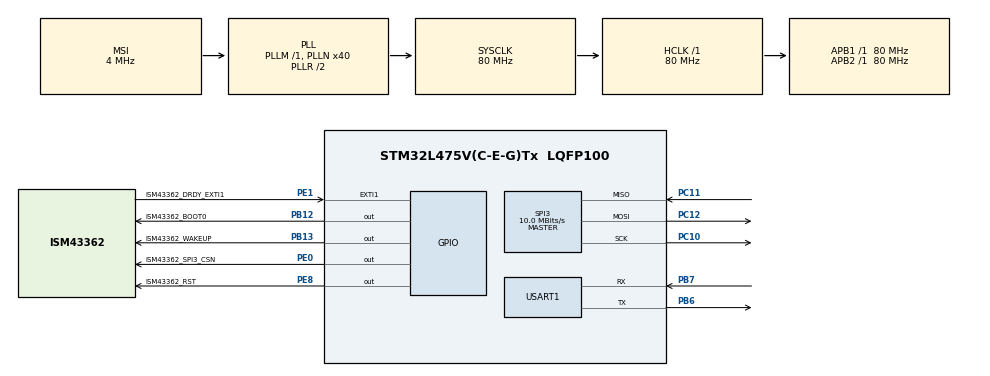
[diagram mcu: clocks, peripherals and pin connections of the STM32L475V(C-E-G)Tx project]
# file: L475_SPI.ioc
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Mcu.Family=STM32L4
Mcu.Name=STM32L475V(C-E-G)Tx
Mcu.Package=LQFP100
NVIC.PriorityGroup=NVIC_PRIORITYGROUP_4
NVIC.SPI3_IRQn=true\:0\:0\:false\:false\:true\:true\:true
NVIC.USART1_IRQn=true\:0\:0\:false\:false\:true\:true\:true
PB12.GPIO_Label=ISM43362_BOOT0
PB12.Signal=GPIO_Output
PB13.GPIO_Label=ISM43362_WAKEUP
PB13.Signal=GPIO_Output
PB6.Mode=Asynchronous
PB6.Signal=USART1_TX
PB7.Mode=Asynchronous
PB7.Signal=USART1_RX
PC10.Mode=Full_Duplex_Master
PC10.Signal=SPI3_SCK
PC11.Mode=Full_Duplex_Master
PC11.Signal=SPI3_MISO
PC12.Mode=Full_Duplex_Master
PC12.Signal=SPI3_MOSI
PE0.GPIO_Label=ISM43362_SPI3_CSN
PE0.Signal=GPIO_Output
PE1.GPIO_Label=ISM43362_DRDY_EXTI1
PE1.Signal=GPXTI1
PE8.GPIO_Label=ISM43362_RST
PE8.Signal=GPIO_Output
ProjectManager.HeapSize=0x200
ProjectManager.StackSize=0x400
ProjectManager.TargetToolchain=STM32CubeIDE
RCC.ADCFreq_Value=48000000
RCC.AHBFreq_Value=80000000
RCC.APB1Freq_Value=80000000
RCC.APB1TimFreq_Value=80000000
RCC.APB2Freq_Value=80000000
RCC.APB2TimFreq_Value=80000000
RCC.CortexFreq_Value=80000000
RCC.HCLKFreq_Value=80000000
RCC.HSE_VALUE=8000000
RCC.HSI_VALUE=16000000
RCC.LSE_VALUE=32768
RCC.MSI_VALUE=4000000
RCC.PLLN=40
RCC.PLLSAI1N=24
RCC.SYSCLKFreq_VALUE=80000000
RCC.SYSCLKSource=RCC_SYSCLKSOURCE_PLLCLK
RCC.USBFreq_Value=48000000
RCC.VCOOutputFreq_Value=160000000
SPI3.BaudRatePrescaler=SPI_BAUDRATEPRESCALER_8
SPI3.CalculateBaudRate=10.0 MBits/s
SPI3.DataSize=SPI_DATASIZE_8BIT
SPI3.Direction=SPI_DIRECTION_2LINES
SPI3.FirstBit=SPI_FIRSTBIT_MSB
SPI3.Mode=SPI_MODE_MASTER
SPI3.NSSPMode=SPI_NSS_PULSE_DISABLE
SPI3.VirtualType=VM_MASTER
USART1.VirtualMode-Asynchronous=VM_ASYNC
board=B-L475E-IOT01A1

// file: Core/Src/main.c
/* USER CODE BEGIN Header */
/**
 ******************************************************************************
 * @file           : main.c
 * @brief          : Main program body
 ******************************************************************************
 * @attention
 *
 * <h2><center>&copy; Copyright (c) 2019 STMicroelectronics.
 * All rights reserved.</center></h2>
 *
 * This software component is licensed by ST under BSD 3-Clause license,
 * the "License"; You may not use this file except in compliance with the
 * License. You may obtain a copy of the License at:
 *                        opensource.org/licenses/BSD-3-Clause
 *
 ******************************************************************************
 */
/* USER CODE END Header */

#include "main.h"

/* USER CODE BEGIN Includes */
#include <stdio.h>
#include <string.h>

// Contains the _write and _read functions (_weak can override)
// Already included by the stdio.h library, (Kept here to view the source code)
//#include <unistd.h>

/* USER CODE END Includes */

SPI_HandleTypeDef hspi3;

UART_HandleTypeDef huart1;

void SystemClock_Config(void);
static void MX_GPIO_Init(void);
static void MX_SPI3_Init(void);
static void MX_USART1_UART_Init(void);
/* USER CODE BEGIN PFP */

static void send_spi_tx(uint8_t *data, int size);
static void send_spi_dummy_tx(uint8_t *tx, int16_t size);

static void ism_activate();
static void ism_deactivate();

static int ism_read_status();

static void ism_read();
static void ism_write();

/* USER CODE END PFP */

/* USER CODE BEGIN 0 */

static uint8_t ACK[2] = { 0x0A, 0x0A };

/* USER CODE END 0 */

int main(void) {

	/* MCU Configuration--------------------------------------------------------*/

	/* Reset of all peripherals, Initializes the Flash interface and the Systick. */
	HAL_Init();

	/* Configure the system clock */
	SystemClock_Config();

	/* Initialize all configured peripherals */
	MX_GPIO_Init();
	MX_SPI3_Init();
	MX_USART1_UART_Init();

	/* Infinite loop */
	/* USER CODE BEGIN WHILE */
	printf("Starting USER Code\r\n");

	HAL_StatusTypeDef status;
//	static uint8_t rData[512];

// TODO, Reset Module
	printf("Resetting Module\r\n");
	HAL_GPIO_WritePin(ISM43362_RST_GPIO_Port, ISM43362_RST_Pin, GPIO_PIN_RESET);
	HAL_Delay(10);

	HAL_GPIO_WritePin(ISM43362_RST_GPIO_Port, ISM43362_RST_Pin, GPIO_PIN_SET);
	HAL_Delay(500);

	// TODO, Set the Module Active
	printf("Setting Module active\r\n");
//	HAL_GPIO_WritePin(ISM43362_SPI3_CSN_GPIO_Port, ISM43362_SPI3_CSN_Pin,
//			GPIO_PIN_RESET);

	/**
	 *
	 * START
	 *
	 */

	int s;
	while((s = ism_read_status()) == 0) {
		printf("%d.\r\n", s);
		HAL_Delay(1000);
	}

	ism_activate();
	ism_read();
	ism_deactivate();

	// TODO, Might need a delay here
	__NOP();
	__NOP();

	ism_activate();
	uint8_t d[] = "I?\r\n";
	send_spi_tx(d, 4);
	ism_deactivate();

//	printf("ism_read_status: %d\r\n", ism_read_status());
//	__NOP();
//	__NOP();

	while((s = ism_read_status()) == 0) {
		printf("%d.\r\n", s);
		HAL_Delay(1000);
	}
	printf("%d\r\n", ism_read_status());

	ism_activate();
	ism_read();
	ism_deactivate();

	return 0;

	// 0x0d 0x0a 0x3e 0x20
	// 0x0a 0x0d 0x20 0x3e
	while (1) {

		ism_activate();
		printf("State: %d\r\n", ism_read_status());

		uint8_t t[2];
		int count = 0;

		while (ism_read_status() != 1) {
			HAL_SPI_Transmit(&hspi3, ACK, 2, 1000);
			printf(".\r\n");
			HAL_Delay(1000);

			count++;
			if (count == 10) {
				for (int i = 0; i < 20; i++) {
					status = HAL_SPI_Receive_IT(&hspi3, t, 2);
					printf("S %d D %x %x\r\n", status, t[1], t[0]);

				}
				count = 0;
			}
		}

		HAL_Delay(1000);
		ism_read();

		ism_deactivate();

//		send_spi_tx("?\r\n\n");

		GPIO_PinState state = HAL_GPIO_ReadPin(ISM43362_DRDY_EXTI1_GPIO_Port,
		ISM43362_DRDY_EXTI1_Pin);
		while (state != 1) {
			HAL_SPI_Transmit(&hspi3, ACK, 2, 1000);
			state = HAL_GPIO_ReadPin(ISM43362_DRDY_EXTI1_GPIO_Port,
			ISM43362_DRDY_EXTI1_Pin);
			printf("%d.\r\n", state);
			HAL_Delay(1000);

			count++;
			if (count == 10) {
				for (int i = 0; i < 20; i++) {
					status = HAL_SPI_Receive_IT(&hspi3, t, 2);
					printf("S %d D %x %x\r\n", status, t[1], t[0]);

				}
				count = 0;
			}
		}
//		uint8_t data[] = { 0x3F, 0x49, 0x0A, 0x0D, 0x0A, 0x0A };
//		send_spi_dummy_tx(data, 6);
	}

//
//	memset(rData, 0, 512 * sizeof(uint8_t));

	while (1) {
		/* USER CODE END WHILE */

		/* USER CODE BEGIN 3 */
		printf("Hello World\r\n");
		HAL_Delay(1000);
	}
	/* USER CODE END 3 */
}

static void send_spi_dummy_tx(uint8_t *tx, int16_t size) {
	(void) HAL_SPI_Transmit(&hspi3, tx, size, 1000);
	for (int i = 0; i < size; i = i + 2) {
		printf("Sent: %x %x\r\n", tx[i + 1], tx[i]);
	}
//	printf("S: %d, Sent: %s\r\n", status, tx);
	printf("DONE\r\n");
}

void SystemClock_Config(void) {
	RCC_OscInitTypeDef RCC_OscInitStruct = { 0 };
	RCC_ClkInitTypeDef RCC_ClkInitStruct = { 0 };
	RCC_PeriphCLKInitTypeDef PeriphClkInit = { 0 };

	/** Initializes the CPU, AHB and APB busses clocks
	 */
	RCC_OscInitStruct.OscillatorType = RCC_OSCILLATORTYPE_MSI;
	RCC_OscInitStruct.MSIState = RCC_MSI_ON;
	RCC_OscInitStruct.MSICalibrationValue = 0;
	RCC_OscInitStruct.MSIClockRange = RCC_MSIRANGE_6;
	RCC_OscInitStruct.PLL.PLLState = RCC_PLL_ON;
	RCC_OscInitStruct.PLL.PLLSource = RCC_PLLSOURCE_MSI;
	RCC_OscInitStruct.PLL.PLLM = 1;
	RCC_OscInitStruct.PLL.PLLN = 40;
	RCC_OscInitStruct.PLL.PLLP = RCC_PLLP_DIV7;
	RCC_OscInitStruct.PLL.PLLQ = RCC_PLLQ_DIV2;
	RCC_OscInitStruct.PLL.PLLR = RCC_PLLR_DIV2;
	if (HAL_RCC_OscConfig(&RCC_OscInitStruct) != HAL_OK) {
		Error_Handler();
	}
	/** Initializes the CPU, AHB and APB busses clocks
	 */
	RCC_ClkInitStruct.ClockType = RCC_CLOCKTYPE_HCLK | RCC_CLOCKTYPE_SYSCLK
			| RCC_CLOCKTYPE_PCLK1 | RCC_CLOCKTYPE_PCLK2;
	RCC_ClkInitStruct.SYSCLKSource = RCC_SYSCLKSOURCE_PLLCLK;
	RCC_ClkInitStruct.AHBCLKDivider = RCC_SYSCLK_DIV1;
	RCC_ClkInitStruct.APB1CLKDivider = RCC_HCLK_DIV1;
	RCC_ClkInitStruct.APB2CLKDivider = RCC_HCLK_DIV1;

	if (HAL_RCC_ClockConfig(&RCC_ClkInitStruct, FLASH_LATENCY_4) != HAL_OK) {
		Error_Handler();
	}
	PeriphClkInit.PeriphClockSelection = RCC_PERIPHCLK_USART1;
	PeriphClkInit.Usart1ClockSelection = RCC_USART1CLKSOURCE_PCLK2;
	if (HAL_RCCEx_PeriphCLKConfig(&PeriphClkInit) != HAL_OK) {
		Error_Handler();
	}
	/** Configure the main internal regulator output voltage
	 */
	if (HAL_PWREx_ControlVoltageScaling(PWR_REGULATOR_VOLTAGE_SCALE1)
			!= HAL_OK) {
		Error_Handler();
	}
}

static void MX_SPI3_Init(void) {

	/* SPI3 parameter configuration*/
	hspi3.Instance = SPI3;
	hspi3.Init.Mode = SPI_MODE_MASTER;
	hspi3.Init.Direction = SPI_DIRECTION_2LINES;
	hspi3.Init.DataSize = SPI_DATASIZE_8BIT;
	hspi3.Init.CLKPolarity = SPI_POLARITY_LOW;
	hspi3.Init.CLKPhase = SPI_PHASE_1EDGE;
	hspi3.Init.NSS = SPI_NSS_SOFT;
	hspi3.Init.BaudRatePrescaler = SPI_BAUDRATEPRESCALER_8;
	hspi3.Init.FirstBit = SPI_FIRSTBIT_MSB;
	hspi3.Init.TIMode = SPI_TIMODE_DISABLE;
	hspi3.Init.CRCCalculation = SPI_CRCCALCULATION_DISABLE;
	hspi3.Init.CRCPolynomial = 7;
	hspi3.Init.CRCLength = SPI_CRC_LENGTH_DATASIZE;
	hspi3.Init.NSSPMode = SPI_NSS_PULSE_DISABLE;
	if (HAL_SPI_Init(&hspi3) != HAL_OK) {
		Error_Handler();
	}

}

static void MX_USART1_UART_Init(void) {

	huart1.Instance = USART1;
	huart1.Init.BaudRate = 115200;
	huart1.Init.WordLength = UART_WORDLENGTH_8B;
	huart1.Init.StopBits = UART_STOPBITS_1;
	huart1.Init.Parity = UART_PARITY_NONE;
	huart1.Init.Mode = UART_MODE_TX_RX;
	huart1.Init.HwFlowCtl = UART_HWCONTROL_NONE;
	huart1.Init.OverSampling = UART_OVERSAMPLING_16;
	huart1.Init.OneBitSampling = UART_ONE_BIT_SAMPLE_DISABLE;
	huart1.AdvancedInit.AdvFeatureInit = UART_ADVFEATURE_NO_INIT;
	if (HAL_UART_Init(&huart1) != HAL_OK) {
		Error_Handler();
	}

}

static void MX_GPIO_Init(void) {
	GPIO_InitTypeDef GPIO_InitStruct = { 0 };

	/* GPIO Ports Clock Enable */
	__HAL_RCC_GPIOE_CLK_ENABLE();
	__HAL_RCC_GPIOB_CLK_ENABLE();
	__HAL_RCC_GPIOC_CLK_ENABLE();

	/*Configure GPIO pin Output Level */
	HAL_GPIO_WritePin(GPIOE, ISM43362_RST_Pin | ISM43362_SPI3_CSN_Pin,
			GPIO_PIN_RESET);

	/*Configure GPIO pin Output Level */
	HAL_GPIO_WritePin(GPIOB, ISM43362_BOOT0_Pin | ISM43362_WAKEUP_Pin,
			GPIO_PIN_RESET);

	/*Configure GPIO pins : ISM43362_RST_Pin ISM43362_SPI3_CSN_Pin */
	GPIO_InitStruct.Pin = ISM43362_RST_Pin | ISM43362_SPI3_CSN_Pin;
	GPIO_InitStruct.Mode = GPIO_MODE_OUTPUT_PP;
	GPIO_InitStruct.Pull = GPIO_NOPULL;
	GPIO_InitStruct.Speed = GPIO_SPEED_FREQ_LOW;
	HAL_GPIO_Init(GPIOE, &GPIO_InitStruct);

	/*Configure GPIO pins : ISM43362_BOOT0_Pin ISM43362_WAKEUP_Pin */
	GPIO_InitStruct.Pin = ISM43362_BOOT0_Pin | ISM43362_WAKEUP_Pin;
	GPIO_InitStruct.Mode = GPIO_MODE_OUTPUT_PP;
	GPIO_InitStruct.Pull = GPIO_NOPULL;
	GPIO_InitStruct.Speed = GPIO_SPEED_FREQ_LOW;
	HAL_GPIO_Init(GPIOB, &GPIO_InitStruct);

	/*Configure GPIO pin : ISM43362_DRDY_EXTI1_Pin */
	GPIO_InitStruct.Pin = ISM43362_DRDY_EXTI1_Pin;
	GPIO_InitStruct.Mode = GPIO_MODE_IT_RISING;
	GPIO_InitStruct.Pull = GPIO_NOPULL;
	HAL_GPIO_Init(ISM43362_DRDY_EXTI1_GPIO_Port, &GPIO_InitStruct);

}

/* USER CODE BEGIN 4 */

static void ism_read() {
	uint8_t t[2] = {0};
	while (ism_read_status()) {
		HAL_StatusTypeDef status = HAL_SPI_Receive_IT(&hspi3, t, 2);
		printf("S %d\r\n", status);
		printf("%x %x %c : %c\r\n", t[1], t[0], t[1], t[0]);
//		HAL_Delay(500);
	}
}

static void ism_write() {

}

static void ism_activate() {
	HAL_GPIO_WritePin(ISM43362_SPI3_CSN_GPIO_Port, ISM43362_SPI3_CSN_Pin,
			GPIO_PIN_RESET);
}

static void ism_deactivate() {
	HAL_GPIO_WritePin(ISM43362_SPI3_CSN_GPIO_Port, ISM43362_SPI3_CSN_Pin,
			GPIO_PIN_SET);
}

static int ism_read_status() {
	return HAL_GPIO_ReadPin(ISM43362_DRDY_EXTI1_GPIO_Port,
	ISM43362_DRDY_EXTI1_Pin);
}

static void send_spi_tx(uint8_t *data, int size) {
	for (int i = 0; i < size; i = i + 2) {
		uint8_t n[2] = { data[i + 1], data[i] };
		HAL_StatusTypeDef status = HAL_SPI_Transmit(&hspi3, n, 2, 1000);
		printf("Sent: d %d w %x %x\r\n", status, n[0], n[1]);
	}

//	HAL_StatusTypeDef status = HAL_SPI_Transmit(&hspi3, (uint8_t*) data, len,
//			1000);
//	printf("Sent: d %d w %s l %d\r\n", status, data, len);
}

/**
 * IMP, Make sure you return the length of the transfered data
 * Failing to do so will send the bytes that have NOT been sent (continuously)
 */
int _write(int fd, void *buf, size_t nbyte) {
	HAL_StatusTypeDef status = HAL_UART_Transmit(&huart1, (uint8_t*) buf, nbyte,
			1000);
	return (status == HAL_OK) ? nbyte : 0;
}

/**
 * NOTE, This fails when count = 0 (returns -1 and scanf has strange behaviour -> TODO)
 * To replicate the strange behaviour,
 * - change UINT32_MAX to a smaller value, i.e 10000 (10 seconds) and let it timeout.
 * - Uncomment the printf debugging line `Count ret`
 * - Check the return value of scanf (will be -1)
 * - Scanf stops being blocked because of this behaviour and keeps returning -1
 */
int _read(int fd, void *buf, size_t nbyte) {
	uint8_t d = 0;
	size_t count = 0;

	uint8_t *ptr = (uint8_t*) buf;
	HAL_StatusTypeDef status = HAL_UART_Receive(&huart1, &d,
			1 * sizeof(uint8_t),
			UINT32_MAX);
	if (status == HAL_OK && d != 0) {
		ptr[0] = d;
		putchar(d); // NOTE, Put this back onto the console
		count++;
	}

//	printf("Count ret: %d\r\n", count);
	return count;
}

/* USER CODE END 4 */

void Error_Handler(void) {
}

/************************ (C) COPYRIGHT STMicroelectronics *****END OF FILE****/
